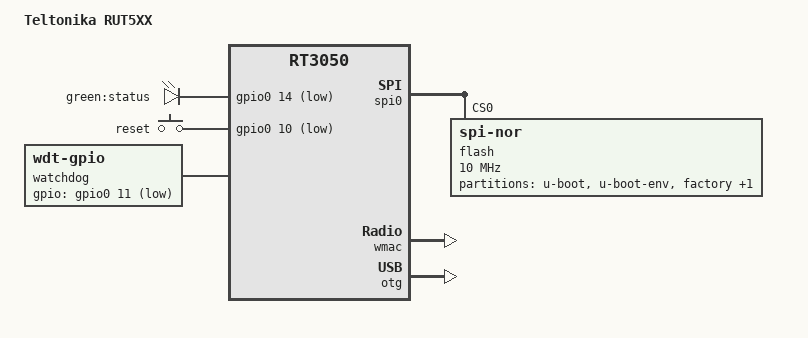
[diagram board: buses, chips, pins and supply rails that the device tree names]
#include "rt3050.dtsi"

#include <dt-bindings/gpio/gpio.h>
#include <dt-bindings/input/input.h>

/ {
	compatible = "teltonika,rut5xx", "ralink,rt3050-soc";
	model = "Teltonika RUT5XX";

	aliases {
		led-boot = &led_status;
		led-failsafe = &led_status;
		led-running = &led_status;
		led-upgrade = &led_status;
	};

	leds {
		compatible = "gpio-leds";

		led_status: status {
			label = "green:status";
			gpios = <&gpio0 14 GPIO_ACTIVE_LOW>;
		};
	};

	keys {
		compatible = "gpio-keys-polled";
		poll-interval = <20>;

		reset {
			label = "reset";
			gpios = <&gpio0 10 GPIO_ACTIVE_LOW>;
			linux,code = <KEY_RESTART>;
		};
	};

	watchdog {
		compatible = "linux,wdt-gpio";
		gpios = <&gpio0 11 GPIO_ACTIVE_LOW>;
		hw_algo = "toggle";
		/* hw_margin_ms is actually 280s but driver limits it to 60s */
		hw_margin_ms = <60000>;
		always-running;
	};
};

&spi0 {
	status = "okay";

	flash@0 {
		compatible = "jedec,spi-nor";
		reg = <0>;
		spi-max-frequency = <10000000>;

		partitions {
			compatible = "fixed-partitions";
			#address-cells = <1>;
			#size-cells = <1>;

			partition@0 {
				label = "u-boot";
				reg = <0x0 0x30000>;
				read-only;
			};

			partition@30000 {
				label = "u-boot-env";
				reg = <0x30000 0x10000>;
				read-only;
			};

			factory: partition@40000 {
				label = "factory";
				reg = <0x40000 0x10000>;
				read-only;
			};

			partition@50000 {
				compatible = "denx,uimage";
				label = "firmware";
				reg = <0x50000 0xfb0000>;
			};
		};
	};
};

&state_default {
	gpio {
		groups = "i2c", "jtag", "rgmii", "mdio", "uartf";
		function = "gpio";
	};
};

&ethernet {
	nvmem-cells = <&macaddr_factory_28>;
	nvmem-cell-names = "mac-address";
};

&esw {
	mediatek,portmap = <0x3e>;
};

&wmac {
	ralink,mtd-eeprom = <&factory 0x0>;
};

&otg {
	status = "okay";
};

&factory {
	compatible = "nvmem-cells";
	#address-cells = <1>;
	#size-cells = <1>;

	macaddr_factory_28: macaddr@28 {
		reg = <0x28 0x6>;
	};
};
